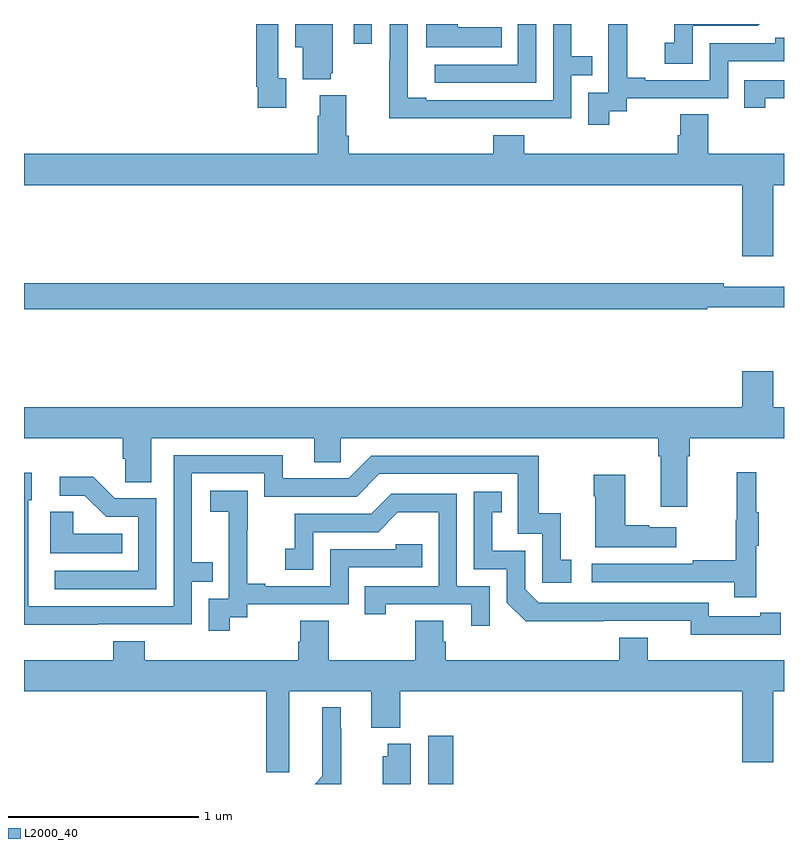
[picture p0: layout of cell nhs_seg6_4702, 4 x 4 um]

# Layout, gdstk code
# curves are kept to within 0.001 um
import gdstk
lib = gdstk.Library(unit=1e-6, precision=1e-09)
def R(c, l, rs):  # rectangles x0, y0, x1, y1
    for r in rs: c.add(gdstk.rectangle(r[:2], r[2:], *l))
def P(c, l, *ps):  # polygons
    for p in ps: c.add(gdstk.Polygon(p, *l))
L2000_40 = (2000, 40)

nhs_seg6_4702 = lib.new_cell('nhs_seg6_4702')
R(nhs_seg6_4702, L2000_40, [(391.127,961.5,391.259,961.753), (390.735,965.397,390.831,965.5)])
P(nhs_seg6_4702, L2000_40, [(390.614,965.241),(390.625,965.241),(390.625,965.5),(390.428,965.5),(390.428,965.378),(390.467,965.378),(390.467,965.21),(390.614,965.21)],
  [(390.379,965.214),(390.339,965.214),(390.339,965.5),(390.223,965.5),(390.223,965.17),(390.231,965.17),(390.231,965.058),(390.379,965.058)],
  [(391.385,965.004),(391.881,965.004),(391.881,965.229),(391.991,965.229),(391.991,965.33),(391.881,965.33),(391.881,965.5),(391.785,965.5),(391.785,965.1),(391.117,965.1),(391.117,965.113),(391.021,965.113),(391.021,965.306),(391.02,965.306),(391.02,965.5),(390.924,965.5),(390.924,965.309),(390.922,965.309),(390.922,965.003),(391.385,965.003)],
  [(392.08,965.041),(392.172,965.041),(392.172,965.109),(392.706,965.109),(392.706,965.304),(393,965.304),(393,965.427),(392.955,965.427),(392.955,965.4),(392.61,965.4),(392.61,965.205),(392.269,965.205),(392.269,965.218),(392.174,965.218),(392.174,965.5),(392.075,965.5),(392.075,965.369),(392.076,965.369),(392.076,965.139),(391.971,965.139),(391.971,964.971),(392.08,964.971)],
  [(391.514,965.482),(391.284,965.482),(391.284,965.5),(391.118,965.5),(391.118,965.378),(391.514,965.378)],
  [(391.695,965.5),(391.599,965.5),(391.599,965.286),(391.161,965.286),(391.161,965.19),(391.695,965.19)],
  [(392.52,965.49),(392.862,965.49),(392.872,965.5),(392.422,965.5),(392.422,965.401),(392.373,965.401),(392.373,965.292),(392.52,965.292)],
  [(392.902,965.109),(393,965.109),(393,965.205),(392.791,965.205),(392.791,965.058),(392.902,965.058)],
  [(392.944,964.652),(393,964.652),(393,964.816),(392.601,964.816),(392.601,965.024),(392.453,965.024),(392.453,964.914),(392.441,964.914),(392.441,964.816),(391.634,964.816),(391.634,964.915),(391.469,964.915),(391.469,964.816),(390.71,964.816),(390.71,964.912),(390.697,964.912),(390.697,965.125),(390.557,965.125),(390.557,965.018),(390.545,965.018),(390.545,964.816),(389,964.816),(389,964.652),(392.78,964.652),(392.78,964.278),(392.944,964.278)],
  [(392.596,964.008),(393,964.008),(393,964.117),(392.684,964.117),(392.684,964.136),(389,964.136),(389,964),(392.596,964)],
  [(392.491,963.224),(392.504,963.224),(392.504,963.32),(393,963.32),(393,963.484),(392.944,963.484),(392.944,963.673),(392.78,963.673),(392.78,963.484),(389,963.484),(389,963.32),(389.519,963.32),(389.519,963.211),(389.532,963.211),(389.532,963.088),(389.671,963.088),(389.671,963.32),(390.527,963.32),(390.527,963.193),(390.666,963.193),(390.666,963.32),(392.339,963.32),(392.339,963.224),(392.351,963.224),(392.351,962.958),(392.491,962.958)],
  [(389.387,962.34),(389.883,962.34),(389.883,962.565),(389.993,962.565),(389.993,962.666),(389.883,962.666),(389.883,963.135),(390.264,963.135),(390.264,963.012),(390.75,963.012),(390.87,963.132),(391.599,963.132),(391.599,962.817),(391.728,962.817),(391.728,962.559),(391.879,962.559),(391.879,962.679),(391.826,962.679),(391.826,962.926),(391.708,962.926),(391.708,963.228),(390.828,963.228),(390.708,963.108),(390.361,963.108),(390.361,963.231),(389.787,963.231),(389.787,962.436),(389.022,962.436),(389.022,962.994),(389.041,962.994),(389.041,963.139),(389,963.139),(389,962.339)],
  [(392.855,962.755),(392.866,962.755),(392.866,962.929),(392.855,962.929),(392.855,963.142),(392.752,963.142),(392.752,962.892),(392.745,962.892),(392.745,962.678),(392.521,962.678),(392.521,962.658),(391.989,962.658),(391.989,962.562),(392.737,962.562),(392.737,962.484),(392.855,962.484)],
  [(392.434,962.851),(392.291,962.851),(392.291,962.861),(392.164,962.861),(392.164,963.127),(391.999,963.127),(391.999,963.014),(392.006,963.014),(392.006,962.747),(392.434,962.747)],
  [(389.697,963.003),(389.478,963.003),(389.365,963.116),(389.187,963.116),(389.187,963.018),(389.321,963.018),(389.432,962.907),(389.601,962.907),(389.601,962.622),(389.163,962.622),(389.163,962.526),(389.697,962.526)],
  [(390.082,962.377),(390.174,962.377),(390.174,962.445),(390.708,962.445),(390.708,962.64),(391.097,962.64),(391.097,962.763),(390.957,962.763),(390.957,962.736),(390.612,962.736),(390.612,962.541),(390.271,962.541),(390.271,962.554),(390.176,962.554),(390.176,962.837),(390.177,962.837),(390.177,963.043),(389.979,963.043),(389.979,962.933),(390.077,962.933),(390.077,962.705),(390.078,962.705),(390.078,962.475),(389.973,962.475),(389.973,962.307),(390.082,962.307)],
  [(392.876,962.286),(392.984,962.286),(392.984,962.402),(392.876,962.402),(392.876,962.382),(392.604,962.382),(392.604,962.454),(391.71,962.454),(391.638,962.526),(391.638,962.727),(391.465,962.727),(391.465,962.931),(391.514,962.931),(391.514,963.037),(391.368,963.037),(391.368,962.631),(391.542,962.631),(391.542,962.454),(391.64,962.357),(392.508,962.358),(392.508,962.285)],
  [(391.452,962.541),(391.278,962.541),(391.278,963.027),(390.932,963.027),(390.827,962.922),(390.424,962.922),(390.424,962.737),(390.375,962.737),(390.375,962.628),(390.522,962.628),(390.522,962.826),(390.864,962.826),(390.968,962.93),(391.182,962.93),(391.182,962.541),(390.793,962.541),(390.793,962.394),(390.904,962.394),(390.904,962.445),(391.355,962.445),(391.355,962.334),(391.452,962.334)],
  [(389.516,962.818),(389.259,962.818),(389.259,962.933),(389.138,962.933),(389.138,962.714),(389.516,962.714)],
  [(390.397,961.988),(390.827,961.988),(390.827,961.796),(390.98,961.796),(390.98,961.988),(392.78,961.988),(392.78,961.614),(392.944,961.614),(392.944,961.988),(393,961.988),(393,962.152),(392.284,962.152),(392.284,962.269),(392.132,962.269),(392.132,962.152),(391.22,962.152),(391.22,962.25),(391.207,962.25),(391.207,962.36),(391.06,962.36),(391.06,962.152),(390.603,962.152),(390.603,962.36),(390.455,962.36),(390.455,962.25),(390.443,962.25),(390.443,962.152),(389.636,962.152),(389.636,962.251),(389.471,962.251),(389.471,962.152),(389,962.152),(389,961.988),(390.275,961.988),(390.275,961.563),(390.397,961.563)],
  [(390.671,961.502),(390.671,961.793),(390.667,961.793),(390.667,961.903),(390.569,961.903),(390.569,961.642),(390.57,961.642),(390.57,961.54),(390.53,961.5),(390.669,961.5)],
  [(391.036,961.711),(390.914,961.711),(390.914,961.647),(390.887,961.647),(390.887,961.5),(391.036,961.5)])

lib.write_gds('nhs_seg6_4702.gds')
